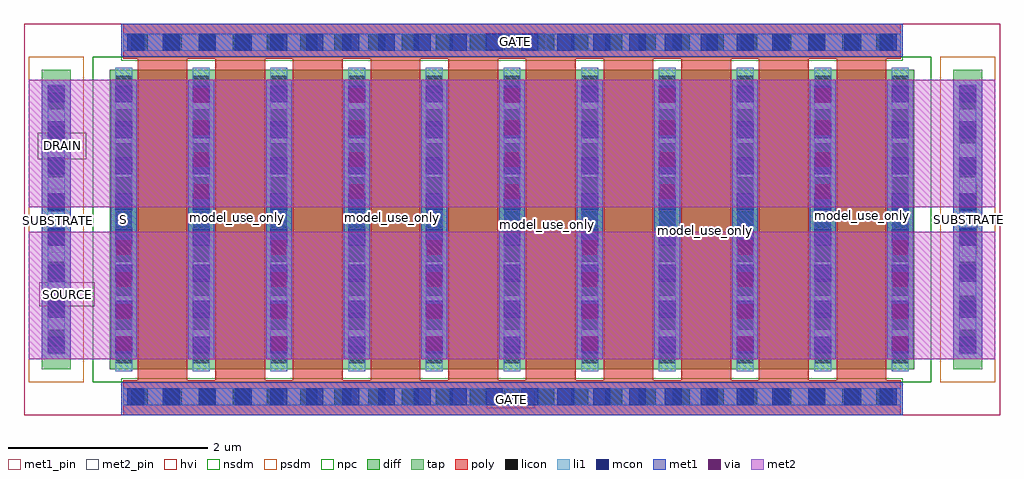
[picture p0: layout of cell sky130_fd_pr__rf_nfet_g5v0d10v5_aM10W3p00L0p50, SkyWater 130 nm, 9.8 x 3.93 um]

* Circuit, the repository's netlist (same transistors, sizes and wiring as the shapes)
* Copyright 2020 The SkyWater PDK Authors
*
* Licensed under the Apache License, Version 2.0 (the "License");
* you may not use this file except in compliance with the License.
* You may obtain a copy of the License at
*
*     https://www.apache.org/licenses/LICENSE-2.0
*
* Unless required by applicable law or agreed to in writing, software
* distributed under the License is distributed on an "AS IS" BASIS,
* WITHOUT WARRANTIES OR CONDITIONS OF ANY KIND, either express or implied.
* See the License for the specific language governing permissions and
* limitations under the License.
*
* SPDX-License-Identifier: Apache-2.0


.subckt sky130_fd_pr__rf_nfet_g5v0d10v5_aM10W3p00L0p50 DRAIN GATE SOURCE SUBSTRATE
X0 SOURCE GATE DRAIN SUBSTRATE sky130_fd_pr__nfet_g5v0d10v5 w=3.01e+06u l=500000u
X1 DRAIN GATE SOURCE SUBSTRATE sky130_fd_pr__nfet_g5v0d10v5 w=3.01e+06u l=500000u
X2 SOURCE GATE DRAIN SUBSTRATE sky130_fd_pr__nfet_g5v0d10v5 w=3.01e+06u l=500000u
X3 DRAIN GATE SOURCE SUBSTRATE sky130_fd_pr__nfet_g5v0d10v5 w=3.01e+06u l=500000u
X4 DRAIN GATE SOURCE SUBSTRATE sky130_fd_pr__nfet_g5v0d10v5 w=3.01e+06u l=500000u
X5 SOURCE GATE DRAIN SUBSTRATE sky130_fd_pr__nfet_g5v0d10v5 w=3.01e+06u l=500000u
X6 DRAIN GATE SOURCE SUBSTRATE sky130_fd_pr__nfet_g5v0d10v5 w=3.01e+06u l=500000u
X7 SOURCE GATE DRAIN SUBSTRATE sky130_fd_pr__nfet_g5v0d10v5 w=3.01e+06u l=500000u
X8 SOURCE GATE DRAIN SUBSTRATE sky130_fd_pr__nfet_g5v0d10v5 w=3.01e+06u l=500000u
X9 DRAIN GATE SOURCE SUBSTRATE sky130_fd_pr__nfet_g5v0d10v5 w=3.01e+06u l=500000u
.ends

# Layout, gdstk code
import gdstk
lib = gdstk.Library(unit=1e-6, precision=1e-09)
def R(c, l, rs):  # rectangles x0, y0, x1, y1
    for r in rs: c.add(gdstk.rectangle(r[:2], r[2:], *l))
def A(c, l, x, y, w, h, nx, ny, dx, dy):  # array of equal rectangles
    R(c, l, [(x+i*dx, y+j*dy, x+i*dx+w, y+j*dy+h) for i in range(nx) for j in range(ny)])
diff = (65, 20)
tap = (65, 44)
poly = (66, 20)
licon = (66, 44)
li1 = (67, 20)
mcon = (67, 44)
met1_pin = (68, 16)
met1 = (68, 20)
via = (68, 44)
met2_pin = (69, 16)
met2 = (69, 20)
hvi = (75, 20)
nsdm = (93, 44)
psdm = (94, 20)
npc = (95, 20)

sky130_fd_pr__rf_nfet_g5 = lib.new_cell('sky130_fd_pr__rf_nfet_g5v0d10v5_aM10W3p00L0p50')
R(sky130_fd_pr__rf_nfet_g5, diff, [(0.86,0.46,8.94,3.47)])
R(sky130_fd_pr__rf_nfet_g5, tap, [(0.18,0.46,0.47,3.47), (9.33,0.46,9.62,3.47)])
A(sky130_fd_pr__rf_nfet_g5, poly, 1.14, 0.35, 0.5, 3.23, 10, 1, 0.78, 0)
R(sky130_fd_pr__rf_nfet_g5, poly, [(0.995,0,8.805,0.35), (0.995,3.58,8.805,3.93)])
A(sky130_fd_pr__rf_nfet_g5, licon, 1.075, 0.1, 0.17, 0.17, 23, 2, 0.34, 3.56)
A(sky130_fd_pr__rf_nfet_g5, licon, 0.915, 0.52, 0.17, 0.17, 11, 9, 0.78, 0.34)
A(sky130_fd_pr__rf_nfet_g5, licon, 0.24, 0.69, 0.17, 0.17, 1, 8, 0, 0.34)
A(sky130_fd_pr__rf_nfet_g5, licon, 9.39, 0.69, 0.17, 0.17, 1, 8, 0, 0.34)
A(sky130_fd_pr__rf_nfet_g5, li1, 0.915, 0.44, 0.17, 3.05, 11, 1, 0.78, 0)
A(sky130_fd_pr__rf_nfet_g5, li1, 0.915, 0.62, 0.17, 2.69, 11, 1, 0.78, 0)
R(sky130_fd_pr__rf_nfet_g5, li1, [(0.995,0.1,8.805,0.27), (1.035,0.1,8.765,0.27), (0.24,0.61,0.41,3.32), (9.39,0.61,9.56,3.32), (0.995,3.66,8.805,3.83), (1.035,3.66,8.765,3.83)])
A(sky130_fd_pr__rf_nfet_g5, mcon, 1.035, 0.1, 0.17, 0.17, 22, 2, 0.36, 3.56)
A(sky130_fd_pr__rf_nfet_g5, mcon, 0.24, 0.62, 0.17, 0.17, 1, 8, 0, 0.36)
A(sky130_fd_pr__rf_nfet_g5, mcon, 0.915, 0.62, 0.17, 0.17, 11, 8, 0.78, 0.36)
A(sky130_fd_pr__rf_nfet_g5, mcon, 9.39, 0.62, 0.17, 0.17, 1, 8, 0, 0.36)
R(sky130_fd_pr__rf_nfet_g5, met1_pin, [(4.645,0.07,5.13,0.245), (9.42,1.59,9.57,2.34), (0.28,1.63,0.41,2.275), (4.635,3.67,5.245,3.835)])
A(sky130_fd_pr__rf_nfet_g5, met1, 0.87, 0.56, 0.26, 2.81, 11, 1, 0.78, 0)
A(sky130_fd_pr__rf_nfet_g5, met1, 0.87, 0.56, 0.26, 1.28, 6, 1, 1.56, 0)
A(sky130_fd_pr__rf_nfet_g5, met1, 1.65, 2.09, 0.26, 1.28, 5, 1, 1.56, 0)
R(sky130_fd_pr__rf_nfet_g5, met1, [(0.975,0,8.825,0.33), (0.18,0.56,0.47,3.37), (9.33,0.56,9.62,3.37), (0.975,3.6,8.825,3.93)])
A(sky130_fd_pr__rf_nfet_g5, via, 0.925, 0.645, 0.15, 0.15, 6, 4, 1.56, 0.32)
A(sky130_fd_pr__rf_nfet_g5, via, 1.705, 2.175, 0.15, 0.15, 5, 4, 1.56, 0.32)
R(sky130_fd_pr__rf_nfet_g5, met2_pin, [(0.155,1.095,0.71,1.335), (0.14,2.57,0.625,2.835)])
A(sky130_fd_pr__rf_nfet_g5, met2, 0.87, 0.56, 0.26, 1.28, 6, 1, 1.56, 0)
A(sky130_fd_pr__rf_nfet_g5, met2, 1.65, 2.09, 0.26, 1.28, 5, 1, 1.56, 0)
R(sky130_fd_pr__rf_nfet_g5, met2, [(0.05,0.56,9.75,1.84), (0.05,2.09,9.75,3.37)])
R(sky130_fd_pr__rf_nfet_g5, hvi, [(0,0,9.8,3.93)])
R(sky130_fd_pr__rf_nfet_g5, nsdm, [(0.69,0.33,9.11,3.6)])
R(sky130_fd_pr__rf_nfet_g5, psdm, [(0.05,0.33,0.6,3.6), (9.2,0.33,9.75,3.6)])
R(sky130_fd_pr__rf_nfet_g5, npc, [(0.975,0,8.825,0.37), (0.975,3.56,8.825,3.93)])
sky130_fd_pr__rf_nfet_g5.add(gdstk.Label('model_use_only', (8.415,2.01), layer=66, texttype=83))
sky130_fd_pr__rf_nfet_g5.add(gdstk.Label('model_use_only', (7.605,1.91), layer=66, texttype=83))
sky130_fd_pr__rf_nfet_g5.add(gdstk.Label('model_use_only', (6.84,1.855), layer=66, texttype=83))
sky130_fd_pr__rf_nfet_g5.add(gdstk.Label('model_use_only', (6.005,1.895), layer=66, texttype=83))
sky130_fd_pr__rf_nfet_g5.add(gdstk.Label('model_use_only', (5.255,1.91), layer=66, texttype=83))
sky130_fd_pr__rf_nfet_g5.add(gdstk.Label('model_use_only', (4.495,1.96), layer=66, texttype=83))
sky130_fd_pr__rf_nfet_g5.add(gdstk.Label('model_use_only', (3.705,1.985), layer=66, texttype=83))
sky130_fd_pr__rf_nfet_g5.add(gdstk.Label('model_use_only', (2.92,2.02), layer=66, texttype=83))
sky130_fd_pr__rf_nfet_g5.add(gdstk.Label('model_use_only', (2.145,1.985), layer=66, texttype=83))
sky130_fd_pr__rf_nfet_g5.add(gdstk.Label('model_use_only', (1.345,1.97), layer=66, texttype=83))
sky130_fd_pr__rf_nfet_g5.add(gdstk.Label('D', (1.78,1.965), layer=83, texttype=44))
sky130_fd_pr__rf_nfet_g5.add(gdstk.Label('S', (1.78,1.965), layer=83, texttype=44))
sky130_fd_pr__rf_nfet_g5.add(gdstk.Label('S', (1,1.965), layer=83, texttype=44))
sky130_fd_pr__rf_nfet_g5.add(gdstk.Label('S', (1,1.965), layer=83, texttype=44))
sky130_fd_pr__rf_nfet_g5.add(gdstk.Label('D', (3.34,1.965), layer=83, texttype=44))
sky130_fd_pr__rf_nfet_g5.add(gdstk.Label('S', (2.56,1.965), layer=83, texttype=44))
sky130_fd_pr__rf_nfet_g5.add(gdstk.Label('S', (3.34,1.965), layer=83, texttype=44))
sky130_fd_pr__rf_nfet_g5.add(gdstk.Label('S', (2.56,1.965), layer=83, texttype=44))
sky130_fd_pr__rf_nfet_g5.add(gdstk.Label('D', (5.68,1.965), layer=83, texttype=44))
sky130_fd_pr__rf_nfet_g5.add(gdstk.Label('S', (4.9,1.965), layer=83, texttype=44))
sky130_fd_pr__rf_nfet_g5.add(gdstk.Label('D', (4.12,1.965), layer=83, texttype=44))
sky130_fd_pr__rf_nfet_g5.add(gdstk.Label('S', (5.68,1.965), layer=83, texttype=44))
sky130_fd_pr__rf_nfet_g5.add(gdstk.Label('S', (4.9,1.965), layer=83, texttype=44))
sky130_fd_pr__rf_nfet_g5.add(gdstk.Label('S', (4.12,1.965), layer=83, texttype=44))
sky130_fd_pr__rf_nfet_g5.add(gdstk.Label('S', (6.46,1.965), layer=83, texttype=44))
sky130_fd_pr__rf_nfet_g5.add(gdstk.Label('S', (7.24,1.965), layer=83, texttype=44))
sky130_fd_pr__rf_nfet_g5.add(gdstk.Label('S', (8.02,1.965), layer=83, texttype=44))
sky130_fd_pr__rf_nfet_g5.add(gdstk.Label('D', (6.46,1.965), layer=83, texttype=44))
sky130_fd_pr__rf_nfet_g5.add(gdstk.Label('S', (7.24,1.965), layer=83, texttype=44))
sky130_fd_pr__rf_nfet_g5.add(gdstk.Label('D', (8.02,1.965), layer=83, texttype=44))
sky130_fd_pr__rf_nfet_g5.add(gdstk.Label('S', (8.8,1.965), layer=83, texttype=44))
sky130_fd_pr__rf_nfet_g5.add(gdstk.Label('SOURCE', (0.435,1.215), layer=69, texttype=5))
sky130_fd_pr__rf_nfet_g5.add(gdstk.Label('DRAIN', (0.385,2.705), layer=69, texttype=5))
sky130_fd_pr__rf_nfet_g5.add(gdstk.Label('SUBSTRATE', (9.495,1.965), layer=68, texttype=5))
sky130_fd_pr__rf_nfet_g5.add(gdstk.Label('GATE', (4.94,3.755), layer=68, texttype=5))
sky130_fd_pr__rf_nfet_g5.add(gdstk.Label('GATE', (4.89,0.16), layer=68, texttype=5))
sky130_fd_pr__rf_nfet_g5.add(gdstk.Label('SUBSTRATE', (0.345,1.955), layer=68, texttype=5))

lib.write_gds('sky130_fd_pr__rf_nfet_g5v0d10v5_aM10W3p00L0p50.gds')
